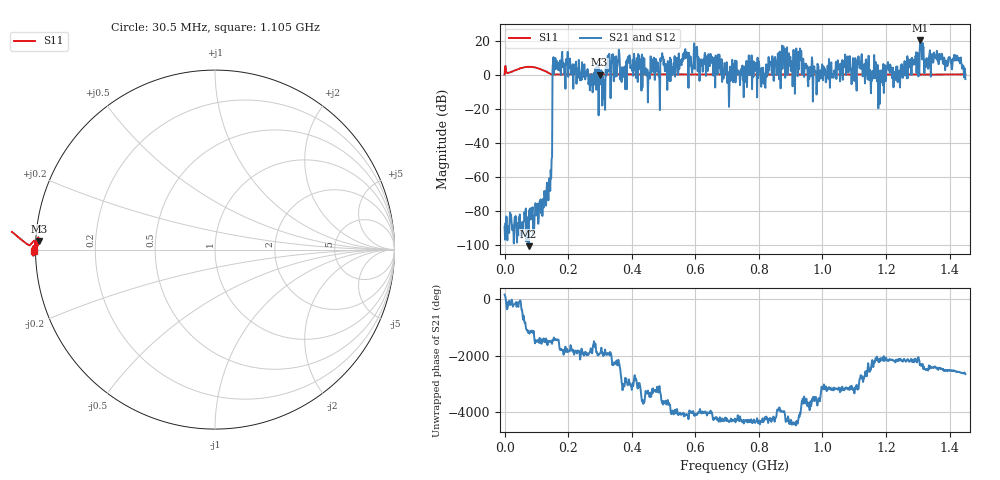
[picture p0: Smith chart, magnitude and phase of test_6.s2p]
! Created with skrf 1.11.0 (http://scikit-rf.org).
# Hz S RI R 50.0
!freq ReS11 ImS11 ReS21 ImS21 ReS12 ImS12 ReS22 ImS22
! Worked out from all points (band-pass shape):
!   1001 points, 50 kHz to 1.45 GHz, reference 50 ohm
!   highest |S21| = 20.03 dB at 1.308 GHz (marker M1); lowest = -101.0 dB at 75.45 MHz (marker M2)
!   |S21| within 3 dB of the highest: 595.8153 MHz to 596.8874 MHz (1.072 MHz wide, 0.18 % of centre); 1.306912 GHz to 1.308819 GHz (1.906 MHz wide, 0.146 % of centre) (the widest 2 of 3)
!   lowest |S11| = -0.2 dB at 298.7 MHz (marker M3), VSWR 99.31, Z = 0.504 + j1.21 ohm
!   |S11| at or under -10 dB: nowhere
!   |S22| runs from - to - dB; largest |S21 - S12| = 0
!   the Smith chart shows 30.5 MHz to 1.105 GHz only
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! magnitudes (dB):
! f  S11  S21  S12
! 50 kHz  -0.1  -89.7  -89.7
! 75.45 MHz  4.5  -101.0  -101.0
! 139.2 MHz  0.9  -64.1  -64.1
! 142.1 MHz  0.6  -62.9  -62.9
! 158.1 MHz  0.0  3.0  3.0
! 242.2 MHz  0.1  -3.2  -3.2
! 298.7 MHz  -0.2  0.9  0.9
! 308.9 MHz  0.0  -0.9  -0.9
! 324.8 MHz  0.1  11.1  11.1
! 393 MHz  0.1  11.3  11.3
! 484.3 MHz  0.1  -0.8  -0.8
! 603.2 MHz  0.0  10.8  10.8
! 725 MHz  0.1  8.2  8.2
! 813.5 MHz  0.0  4.0  4.0
! 880.2 MHz  0.0  8.5  8.5
! 967.2 MHz  0.0  10.1  10.1
! 1.118 GHz  0.0  4.2  4.2
! 1.183 GHz  0.0  0.5  0.5
! 1.209 GHz  -0.1  2.4  2.4
! 1.308 GHz  0.0  20.0  20.0
! 1.422 GHz  0.0  8.3  8.3
! 1.45 GHz  0.1  -2.7  -2.7
